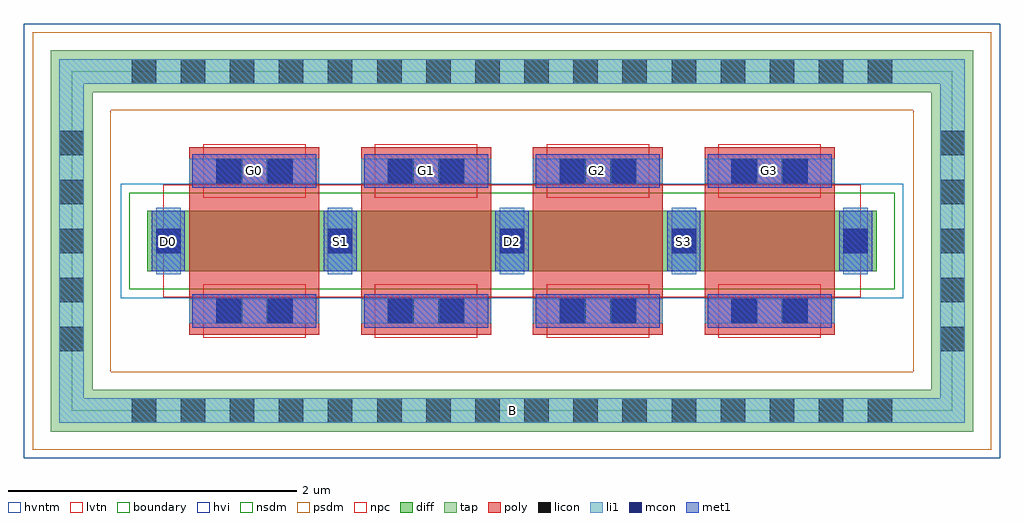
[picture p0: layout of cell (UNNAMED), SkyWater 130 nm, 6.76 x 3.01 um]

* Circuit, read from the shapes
.subckt (UNNAMED) B D0 D2 G0 G1 G2 G3 S1 S3
XM1 S1 G0 D0 B sky130_fd_pr__nfet_05v0_nvt w=0.42 l=0.9
XM2 D2 G1 S1 B sky130_fd_pr__nfet_05v0_nvt w=0.42 l=0.9
XM3 S3 G2 D2 B sky130_fd_pr__nfet_05v0_nvt w=0.42 l=0.9
XM4 n1 G3 S3 B sky130_fd_pr__nfet_05v0_nvt w=0.42 l=0.9
.ends

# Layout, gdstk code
import gdstk
lib = gdstk.Library(unit=1e-6, precision=1e-09)
def R(c, l, rs):  # rectangles x0, y0, x1, y1
    for r in rs: c.add(gdstk.rectangle(r[:2], r[2:], *l))
def A(c, l, x, y, w, h, nx, ny, dx, dy):  # array of equal rectangles
    R(c, l, [(x+i*dx, y+j*dy, x+i*dx+w, y+j*dy+h) for i in range(nx) for j in range(ny)])
diff = (65, 20)
tap = (65, 44)
poly = (66, 20)
licon = (66, 44)
li1 = (67, 20)
mcon = (67, 44)
met1 = (68, 20)
hvi = (75, 20)
nsdm = (93, 44)
psdm = (94, 20)
npc = (95, 20)
hvntm = (125, 20)
lvtn = (125, 44)
boundary = (235, 4)

c__unnamed_ = lib.new_cell('(UNNAMED)')
R(c__unnamed_, diff, [(-2.525,-0.21,2.525,0.21)])
R(c__unnamed_, tap, [(-3.195,-1.32,3.195,-1.03), (-3.195,-1.03,-2.905,1.03), (2.905,-1.03,3.195,1.03), (-3.195,1.03,3.195,1.32)])
A(c__unnamed_, poly, -2.235, -0.65, 0.9, 1.3, 4, 1, 1.19, 0)
A(c__unnamed_, licon, -2.635, -1.26, 0.17, 0.17, 16, 2, 0.34, 2.35)
A(c__unnamed_, licon, -3.135, -0.765, 0.17, 0.17, 1, 5, 0, 0.34)
A(c__unnamed_, licon, 2.965, -0.765, 0.17, 0.17, 1, 5, 0, 0.34)
A(c__unnamed_, licon, -2.465, -0.085, 0.17, 0.17, 5, 1, 1.19, 0)
R(c__unnamed_, licon, [(-2.04,-0.57,-1.87,-0.4), (-1.7,-0.57,-1.53,-0.4), (-0.85,-0.57,-0.68,-0.4), (-0.51,-0.57,-0.34,-0.4), (0.34,-0.57,0.51,-0.4), (0.68,-0.57,0.85,-0.4), (1.53,-0.57,1.7,-0.4), (1.87,-0.57,2.04,-0.4), (-2.04,0.4,-1.87,0.57), (-1.7,0.4,-1.53,0.57), (-0.85,0.4,-0.68,0.57), (-0.51,0.4,-0.34,0.57), (0.34,0.4,0.51,0.57), (0.68,0.4,0.85,0.57), (1.53,0.4,1.7,0.57), (1.87,0.4,2.04,0.57)])
A(c__unnamed_, li1, -2.235, -0.57, 0.9, 0.17, 4, 2, 1.19, 0.97)
A(c__unnamed_, li1, -2.465, -0.23, 0.17, 0.46, 5, 1, 1.19, 0)
R(c__unnamed_, li1, [(-3.135,-1.26,3.135,-1.09), (-3.135,-1.09,-2.965,1.09), (2.965,-1.09,3.135,1.09), (-3.135,1.09,3.135,1.26)])
A(c__unnamed_, mcon, -2.465, -0.085, 0.17, 0.17, 5, 1, 1.19, 0)
R(c__unnamed_, mcon, [(-2.05,-0.57,-1.88,-0.4), (-1.69,-0.57,-1.52,-0.4), (-0.86,-0.57,-0.69,-0.4), (-0.5,-0.57,-0.33,-0.4), (0.33,-0.57,0.5,-0.4), (0.69,-0.57,0.86,-0.4), (1.52,-0.57,1.69,-0.4), (1.88,-0.57,2.05,-0.4), (-2.05,0.4,-1.88,0.57), (-1.69,0.4,-1.52,0.57), (-0.86,0.4,-0.69,0.57), (-0.5,0.4,-0.33,0.57), (0.33,0.4,0.5,0.57), (0.69,0.4,0.86,0.57), (1.52,0.4,1.69,0.57), (1.88,0.4,2.05,0.57)])
A(c__unnamed_, met1, -2.215, -0.6, 0.86, 0.23, 4, 2, 1.19, 0.97)
A(c__unnamed_, met1, -2.495, -0.21, 0.23, 0.42, 5, 1, 1.19, 0)
R(c__unnamed_, hvi, [(-3.38,-1.505,3.38,1.505)])
R(c__unnamed_, nsdm, [(-2.65,-0.335,2.65,0.335)])
R(c__unnamed_, psdm, [(-3.32,-1.445,3.32,-0.905), (-3.32,-0.905,-2.78,0.905), (2.78,-0.905,3.32,0.905), (-3.32,0.905,3.32,1.445)])
A(c__unnamed_, npc, -2.14, -0.67, 0.71, 0.37, 4, 2, 1.19, 0.97)
R(c__unnamed_, hvntm, [(-2.71,-0.395,2.71,0.395)])
R(c__unnamed_, lvtn, [(-2.415,-0.39,2.415,0.39)])
R(c__unnamed_, boundary, [(-3.05,-1.175,3.05,1.175)])
c__unnamed_.add(gdstk.Label('B', (0,-1.175), layer=67, texttype=5))
c__unnamed_.add(gdstk.Label('D0', (-2.38,0), layer=67, texttype=5))
c__unnamed_.add(gdstk.Label('G0', (-1.785,0.485), layer=67, texttype=5))
c__unnamed_.add(gdstk.Label('S1', (-1.19,0), layer=67, texttype=5))
c__unnamed_.add(gdstk.Label('G1', (-0.595,0.485), layer=67, texttype=5))
c__unnamed_.add(gdstk.Label('D2', (0,0), layer=67, texttype=5))
c__unnamed_.add(gdstk.Label('G2', (0.595,0.485), layer=67, texttype=5))
c__unnamed_.add(gdstk.Label('S3', (1.19,0), layer=67, texttype=5))
c__unnamed_.add(gdstk.Label('G3', (1.785,0.485), layer=67, texttype=5))

lib.write_gds('_UNNAMED_.gds')
